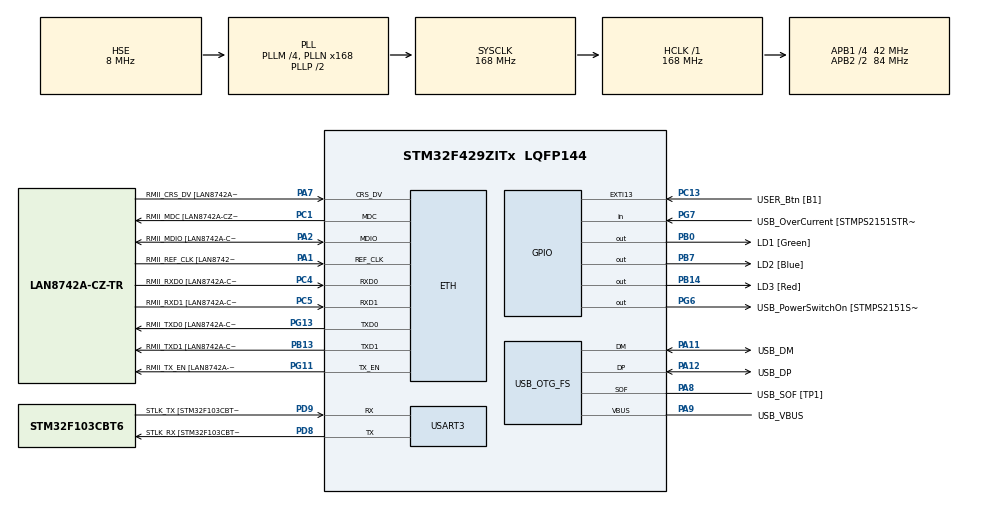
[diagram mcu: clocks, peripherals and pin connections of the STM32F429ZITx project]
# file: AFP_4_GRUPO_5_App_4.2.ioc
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ETH.MediaInterface=HAL_ETH_RMII_MODE
ETH.PHY_Name=LAN8742A_PHY_ADDRESS
ETH.PHY_Value=0
ETH.PhyAddress=0
Mcu.Family=STM32F4
Mcu.Name=STM32F429ZITx
Mcu.Package=LQFP144
NVIC.PriorityGroup=NVIC_PRIORITYGROUP_4
PA1.GPIO_Label=RMII_REF_CLK [LAN8742A-CZ-TR_REFCLK0]
PA1.Mode=RMII
PA1.Signal=ETH_REF_CLK
PA10.GPIO_Label=USB_ID
PA10.Signal=USB_OTG_FS_ID
PA11.GPIO_Label=USB_DM
PA11.Mode=Device_Only
PA11.Signal=USB_OTG_FS_DM
PA12.GPIO_Label=USB_DP
PA12.Mode=Device_Only
PA12.Signal=USB_OTG_FS_DP
PA13.GPIO_Label=TMS
PA13.Mode=Serial_Wire
PA13.Signal=SYS_JTMS-SWDIO
PA14.GPIO_Label=TCK
PA14.Mode=Serial_Wire
PA14.Signal=SYS_JTCK-SWCLK
PA2.GPIO_Label=RMII_MDIO [LAN8742A-CZ-TR_MDIO]
PA2.Mode=RMII
PA2.Signal=ETH_MDIO
PA7.GPIO_Label=RMII_CRS_DV [LAN8742A-CZ-TR_CRS_DV]
PA7.Mode=RMII
PA7.Signal=ETH_CRS_DV
PA8.GPIO_Label=USB_SOF [TP1]
PA8.Mode=Activate_SOF_FS
PA8.Signal=USB_OTG_FS_SOF
PA9.GPIO_Label=USB_VBUS
PA9.Mode=Activate_VBUS
PA9.Signal=USB_OTG_FS_VBUS
PB0.GPIO_Label=LD1 [Green]
PB0.Signal=GPIO_Output
PB13.GPIO_Label=RMII_TXD1 [LAN8742A-CZ-TR_TXD1]
PB13.Mode=RMII
PB13.Signal=ETH_TXD1
PB14.GPIO_Label=LD3 [Red]
PB14.Signal=GPIO_Output
PB7.GPIO_Label=LD2 [Blue]
PB7.Signal=GPIO_Output
PC1.GPIO_Label=RMII_MDC [LAN8742A-CZ-TR_MDC]
PC1.Mode=RMII
PC1.Signal=ETH_MDC
PC13.GPIO_Label=USER_Btn [B1]
PC13.Signal=GPXTI13
PC14/OSC32_IN.Mode=LSE-External-Oscillator
PC14/OSC32_IN.Signal=RCC_OSC32_IN
PC15/OSC32_OUT.Mode=LSE-External-Oscillator
PC15/OSC32_OUT.Signal=RCC_OSC32_OUT
PC4.GPIO_Label=RMII_RXD0 [LAN8742A-CZ-TR_RXD0]
PC4.Mode=RMII
PC4.Signal=ETH_RXD0
PC5.GPIO_Label=RMII_RXD1 [LAN8742A-CZ-TR_RXD1]
PC5.Mode=RMII
PC5.Signal=ETH_RXD1
PD8.GPIO_Label=STLK_RX [STM32F103CBT6_PA3]
PD8.Mode=Asynchronous
PD8.Signal=USART3_TX
PD9.GPIO_Label=STLK_TX [STM32F103CBT6_PA2]
PD9.Mode=Asynchronous
PD9.Signal=USART3_RX
PG11.GPIO_Label=RMII_TX_EN [LAN8742A-CZ-TR_TXEN]
PG11.Mode=RMII
PG11.Signal=ETH_TX_EN
PG13.GPIO_Label=RMII_TXD0 [LAN8742A-CZ-TR_TXD0]
PG13.Mode=RMII
PG13.Signal=ETH_TXD0
PG6.GPIO_Label=USB_PowerSwitchOn [STMPS2151STR_EN]
PG6.Signal=GPIO_Output
PG7.GPIO_Label=USB_OverCurrent [STMPS2151STR_FAULT]
PG7.Signal=GPIO_Input
PH0/OSC_IN.GPIO_Label=MCO [STM32F103CBT6_PA8]
PH0/OSC_IN.Mode=HSE-External-Clock-Source
PH0/OSC_IN.Signal=RCC_OSC_IN
PH1/OSC_OUT.Mode=HSE-External-Clock-Source
PH1/OSC_OUT.Signal=RCC_OSC_OUT
ProjectManager.HeapSize=0x200
ProjectManager.StackSize=0x400
ProjectManager.TargetToolchain=STM32CubeIDE
RCC.48MHZClocksFreq_Value=48000000
RCC.AHBFreq_Value=168000000
RCC.APB1CLKDivider=RCC_HCLK_DIV4
RCC.APB1Freq_Value=42000000
RCC.APB1TimFreq_Value=84000000
RCC.APB2CLKDivider=RCC_HCLK_DIV2
RCC.APB2Freq_Value=84000000
RCC.APB2TimCLKDivider=2
RCC.APB2TimFreq_Value=168000000
RCC.CortexFreq_Value=168000000
RCC.HCLKFreq_Value=168000000
RCC.HSE_VALUE=8000000
RCC.HSI_VALUE=16000000
RCC.PLLM=4
RCC.PLLMUL=RCC_PLL_MUL9
RCC.PLLN=168
RCC.PLLQ=7
RCC.PRESCALERUSB=RCC_USBCLKSOURCE_PLL_DIV1_5
RCC.SYSCLKFreq_VALUE=168000000
RCC.SYSCLKSource=RCC_SYSCLKSOURCE_PLLCLK
RCC.SYSCLKSourceVirtual=RCC_SYSCLKSOURCE_PLLCLK
RCC.USBFreq_Value=48000000
RCC.VCOOutputFreq_Value=336000000
USART3.VirtualMode=VM_ASYNC
USB_OTG_FS.VirtualMode=Device_Only
board=NUCLEO-F429ZI

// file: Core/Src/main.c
/* USER CODE BEGIN Header */
/**
  ******************************************************************************
  * @file           : main.c
  * @brief          : Main program body
  ******************************************************************************
  * @attention
  *
  * Copyright (c) 2024 STMicroelectronics.
  * All rights reserved.
  *
  * This software is licensed under terms that can be found in the LICENSE file
  * in the root directory of this software component.
  * If no LICENSE file comes with this software, it is provided AS-IS.
  *
  ******************************************************************************
  */
/* USER CODE END Header */
#include "main.h"
#include "string.h"
#include "API_GPIO.h"
#include "API_Delay.h"
#include "API_debounce.h"

ETH_TxPacketConfig TxConfig;
ETH_DMADescTypeDef  DMARxDscrTab[ETH_RX_DESC_CNT]; /* Ethernet Rx DMA Descriptors */
ETH_DMADescTypeDef  DMATxDscrTab[ETH_TX_DESC_CNT]; /* Ethernet Tx DMA Descriptors */

ETH_HandleTypeDef heth;

UART_HandleTypeDef huart3;

PCD_HandleTypeDef hpcd_USB_OTG_FS;

void SystemClock_Config(void);
static void MX_ETH_Init(void);
static void MX_USART3_UART_Init(void);
static void MX_USB_OTG_FS_PCD_Init(void);

int main(void)
{

  /* MCU Configuration--------------------------------------------------------*/

  /* Reset of all peripherals, Initializes the Flash interface and the Systick. */
  HAL_Init();

  /* Configure the system clock */
  SystemClock_Config();

  /* Initialize all configured peripherals */
  MX_GPIO_Init();
  MX_ETH_Init();
  MX_USART3_UART_Init();
  MX_USB_OTG_FS_PCD_Init();
  /* USER CODE BEGIN 2 */

  uint16_t vector_leds[CANT_LEDS] = {LD1_Pin, LD2_Pin, LD3_Pin};  //Vector que contiene los pines de los leds
  uint8_t led_actual = 0;
  bool_t sentido = true;	//indica si la secuencia va en sentido ascendente (true), o descendente (false)

  delay_t tiempo_secuencia;
  delayInit(&tiempo_secuencia, Delay_ms);

  bool_t estado_led = false; // Almacena en que fase de la secuencia se encuentra el led. true-> Encendido, false-> Apagado.

  debounceFSM_Init();
  /* USER CODE END 2 */

  /* Infinite loop */
  /* USER CODE BEGIN WHILE */
  while (1)
  {

	  debounceFSM_Update();

	  if(readKey()){
		  sentido = !sentido;
	  }

	  /* Secuencia */
	  if(delayRead(&tiempo_secuencia)){
		  if(estado_led){
			  writeLedOff_GPIO(vector_leds[led_actual]);

			  /* Seleccionar el siguiente led de la secuencia */
			  if(sentido){
				  if(led_actual == (CANT_LEDS-1)){
					  led_actual = 0;
				  }else{
					  led_actual++;
				  }
			  }else{
				  if(led_actual == 0){
					  led_actual = (CANT_LEDS-1);
				  }else{
					  led_actual--;
				  }
			  }
			  estado_led = false;
		  }else{
			  writeLedOn_GPIO(vector_leds[led_actual]);
			  estado_led = true;
		  }
	  }

    /* USER CODE END WHILE */

  }
}

void SystemClock_Config(void)
{
  RCC_OscInitTypeDef RCC_OscInitStruct = {0};
  RCC_ClkInitTypeDef RCC_ClkInitStruct = {0};

  /** Configure the main internal regulator output voltage
  */
  __HAL_RCC_PWR_CLK_ENABLE();
  __HAL_PWR_VOLTAGESCALING_CONFIG(PWR_REGULATOR_VOLTAGE_SCALE1);

  /** Initializes the RCC Oscillators according to the specified parameters
  * in the RCC_OscInitTypeDef structure.
  */
  RCC_OscInitStruct.OscillatorType = RCC_OSCILLATORTYPE_HSE;
  RCC_OscInitStruct.HSEState = RCC_HSE_BYPASS;
  RCC_OscInitStruct.PLL.PLLState = RCC_PLL_ON;
  RCC_OscInitStruct.PLL.PLLSource = RCC_PLLSOURCE_HSE;
  RCC_OscInitStruct.PLL.PLLM = 4;
  RCC_OscInitStruct.PLL.PLLN = 168;
  RCC_OscInitStruct.PLL.PLLP = RCC_PLLP_DIV2;
  RCC_OscInitStruct.PLL.PLLQ = 7;
  if (HAL_RCC_OscConfig(&RCC_OscInitStruct) != HAL_OK)
  {
    Error_Handler();
  }

  /** Initializes the CPU, AHB and APB buses clocks
  */
  RCC_ClkInitStruct.ClockType = RCC_CLOCKTYPE_HCLK|RCC_CLOCKTYPE_SYSCLK
                              |RCC_CLOCKTYPE_PCLK1|RCC_CLOCKTYPE_PCLK2;
  RCC_ClkInitStruct.SYSCLKSource = RCC_SYSCLKSOURCE_PLLCLK;
  RCC_ClkInitStruct.AHBCLKDivider = RCC_SYSCLK_DIV1;
  RCC_ClkInitStruct.APB1CLKDivider = RCC_HCLK_DIV4;
  RCC_ClkInitStruct.APB2CLKDivider = RCC_HCLK_DIV2;

  if (HAL_RCC_ClockConfig(&RCC_ClkInitStruct, FLASH_LATENCY_5) != HAL_OK)
  {
    Error_Handler();
  }
}

static void MX_ETH_Init(void)
{

   static uint8_t MACAddr[6];

  heth.Instance = ETH;
  MACAddr[0] = 0x00;
  MACAddr[1] = 0x80;
  MACAddr[2] = 0xE1;
  MACAddr[3] = 0x00;
  MACAddr[4] = 0x00;
  MACAddr[5] = 0x00;
  heth.Init.MACAddr = &MACAddr[0];
  heth.Init.MediaInterface = HAL_ETH_RMII_MODE;
  heth.Init.TxDesc = DMATxDscrTab;
  heth.Init.RxDesc = DMARxDscrTab;
  heth.Init.RxBuffLen = 1524;

  if (HAL_ETH_Init(&heth) != HAL_OK)
  {
    Error_Handler();
  }

  memset(&TxConfig, 0 , sizeof(ETH_TxPacketConfig));
  TxConfig.Attributes = ETH_TX_PACKETS_FEATURES_CSUM | ETH_TX_PACKETS_FEATURES_CRCPAD;
  TxConfig.ChecksumCtrl = ETH_CHECKSUM_IPHDR_PAYLOAD_INSERT_PHDR_CALC;
  TxConfig.CRCPadCtrl = ETH_CRC_PAD_INSERT;

}

static void MX_USART3_UART_Init(void)
{

  huart3.Instance = USART3;
  huart3.Init.BaudRate = 115200;
  huart3.Init.WordLength = UART_WORDLENGTH_8B;
  huart3.Init.StopBits = UART_STOPBITS_1;
  huart3.Init.Parity = UART_PARITY_NONE;
  huart3.Init.Mode = UART_MODE_TX_RX;
  huart3.Init.HwFlowCtl = UART_HWCONTROL_NONE;
  huart3.Init.OverSampling = UART_OVERSAMPLING_16;
  if (HAL_UART_Init(&huart3) != HAL_OK)
  {
    Error_Handler();
  }

}

static void MX_USB_OTG_FS_PCD_Init(void)
{

  hpcd_USB_OTG_FS.Instance = USB_OTG_FS;
  hpcd_USB_OTG_FS.Init.dev_endpoints = 4;
  hpcd_USB_OTG_FS.Init.speed = PCD_SPEED_FULL;
  hpcd_USB_OTG_FS.Init.dma_enable = DISABLE;
  hpcd_USB_OTG_FS.Init.phy_itface = PCD_PHY_EMBEDDED;
  hpcd_USB_OTG_FS.Init.Sof_enable = ENABLE;
  hpcd_USB_OTG_FS.Init.low_power_enable = DISABLE;
  hpcd_USB_OTG_FS.Init.lpm_enable = DISABLE;
  hpcd_USB_OTG_FS.Init.vbus_sensing_enable = ENABLE;
  hpcd_USB_OTG_FS.Init.use_dedicated_ep1 = DISABLE;
  if (HAL_PCD_Init(&hpcd_USB_OTG_FS) != HAL_OK)
  {
    Error_Handler();
  }

}

void Error_Handler(void)
{
  __disable_irq();
  while (1)
  {
  }
}
